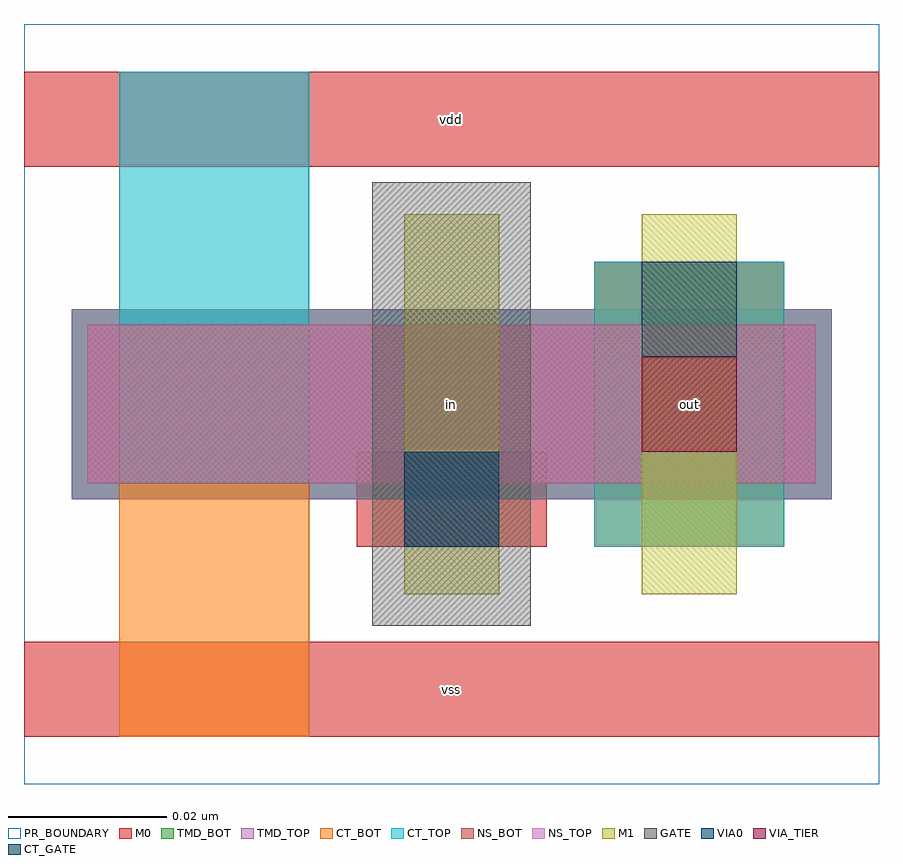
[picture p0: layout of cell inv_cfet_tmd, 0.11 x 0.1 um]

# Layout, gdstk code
import gdstk
lib = gdstk.Library(unit=1e-6, precision=1e-09)
def R(c, l, rs):  # rectangles x0, y0, x1, y1
    for r in rs: c.add(gdstk.rectangle(r[:2], r[2:], *l))
PR_BOUNDARY = (1, 0)
NS_BOT = (10, 0)
NS_TOP = (11, 0)
GATE = (20, 0)
CT_GATE = (21, 0)
CT_BOT = (30, 0)
CT_TOP = (31, 0)
VIA_TIER = (35, 0)
M0 = (40, 0)
VIA0 = (41, 0)
M1 = (42, 0)
TMD_BOT = (51, 0)
TMD_TOP = (52, 0)

inv_cfet_tmd = lib.new_cell('inv_cfet_tmd')
R(inv_cfet_tmd, PR_BOUNDARY, [(0,0,0.108,0.096)])
R(inv_cfet_tmd, NS_BOT, [(0.008,0.038,0.1,0.058)])
R(inv_cfet_tmd, NS_TOP, [(0.008,0.038,0.1,0.058)])
R(inv_cfet_tmd, GATE, [(0.044,0.02,0.064,0.076)])
R(inv_cfet_tmd, CT_GATE, [(0.048,0.03,0.06,0.042)])
R(inv_cfet_tmd, CT_BOT, [(0.012,0.006,0.036,0.058), (0.072,0.03,0.096,0.066)])
R(inv_cfet_tmd, CT_TOP, [(0.072,0.03,0.096,0.066), (0.012,0.038,0.036,0.09)])
R(inv_cfet_tmd, VIA_TIER, [(0.078,0.042,0.09,0.054)])
R(inv_cfet_tmd, M0, [(0,0.006,0.108,0.018), (0.042,0.03,0.066,0.042), (0.072,0.054,0.096,0.066), (0,0.078,0.108,0.09)])
R(inv_cfet_tmd, VIA0, [(0.048,0.03,0.06,0.042), (0.078,0.054,0.09,0.066)])
R(inv_cfet_tmd, M1, [(0.048,0.024,0.06,0.072), (0.078,0.024,0.09,0.072)])
R(inv_cfet_tmd, TMD_BOT, [(0.006,0.036,0.102,0.06)])
R(inv_cfet_tmd, TMD_TOP, [(0.006,0.036,0.102,0.06)])
inv_cfet_tmd.add(gdstk.Label('in', (0.054,0.048), layer=42, texttype=1))
inv_cfet_tmd.add(gdstk.Label('out', (0.084,0.048), layer=42, texttype=1))
inv_cfet_tmd.add(gdstk.Label('vdd', (0.054,0.084), layer=40, texttype=1))
inv_cfet_tmd.add(gdstk.Label('vss', (0.054,0.012), layer=40, texttype=1))

lib.write_gds('inv_cfet_tmd.gds')
